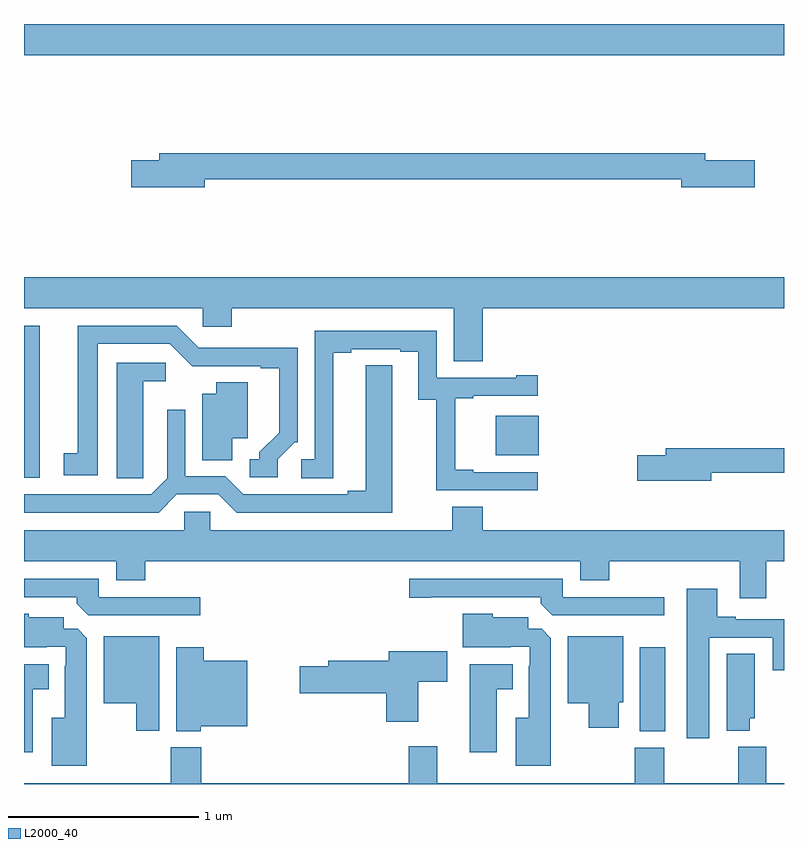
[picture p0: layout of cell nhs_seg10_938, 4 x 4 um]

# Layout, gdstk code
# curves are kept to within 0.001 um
import gdstk
lib = gdstk.Library(unit=1e-6, precision=1e-09)
def R(c, l, rs):  # rectangles x0, y0, x1, y1
    for r in rs: c.add(gdstk.rectangle(r[:2], r[2:], *l))
def P(c, l, *ps):  # polygons
    for p in ps: c.add(gdstk.Polygon(p, *l))
L2000_40 = (2000, 40)

nhs_seg10_938 = lib.new_cell('nhs_seg10_938')
R(nhs_seg10_938, L2000_40, [(162.242,1276.777,162.376,1277.221), (159,1278.111,159.082,1278.912), (161.483,1278.23,161.71,1278.439), (159,1280.336,163,1280.5)])
P(nhs_seg10_938, L2000_40, [(159.952,1279.684),(162.458,1279.684),(162.458,1279.642),(162.847,1279.642),(162.847,1279.784),(162.586,1279.784),(162.586,1279.82),(159.713,1279.82),(159.713,1279.784),(159.564,1279.784),(159.564,1279.642),(159.952,1279.642)],
  [(159,1279.004),(159.942,1279.004),(159.942,1278.906),(160.094,1278.906),(160.094,1279.004),(161.261,1279.004),(161.261,1278.724),(161.414,1278.724),(161.414,1279.004),(163,1279.004),(163,1279.168),(159,1279.168)],
  [(160.335,1278.21),(160.425,1278.3),(160.44,1278.3),(160.44,1278.797),(160.177,1278.797),(160.177,1278.795),(159.921,1278.795),(159.804,1278.912),(159.284,1278.912),(159.284,1278.242),(159.21,1278.242),(159.21,1278.126),(159.388,1278.126),(159.388,1278.816),(159.768,1278.816),(159.886,1278.698),(160.247,1278.699),(160.247,1278.687),(160.343,1278.687),(160.343,1278.35),(160.238,1278.245),(160.238,1278.21),(160.188,1278.21),(160.188,1278.114),(160.335,1278.114)],
  [(161.704,1278.141),(161.365,1278.141),(161.365,1278.154),(161.27,1278.154),(161.27,1278.531),(161.365,1278.531),(161.365,1278.543),(161.704,1278.543),(161.704,1278.652),(161.591,1278.652),(161.591,1278.639),(161.172,1278.639),(161.172,1278.885),(160.53,1278.885),(160.53,1278.21),(160.458,1278.21),(160.458,1278.109),(160.627,1278.109),(160.627,1278.769),(160.723,1278.769),(160.723,1278.789),(160.979,1278.789),(160.979,1278.774),(161.075,1278.774),(161.075,1278.523),(161.17,1278.523),(161.17,1278.045),(161.704,1278.045)],
  [(159.627,1278.217),(159.628,1278.217),(159.628,1278.62),(159.745,1278.62),(159.745,1278.717),(159.488,1278.717),(159.488,1278.109),(159.627,1278.109)],
  [(159.805,1278.024),(160.023,1278.024),(160.119,1277.928),(160.939,1277.928),(160.938,1278.704),(160.799,1278.704),(160.799,1278.044),(160.703,1278.044),(160.703,1278.024),(160.155,1278.024),(160.059,1278.12),(159.849,1278.12),(159.849,1278.469),(159.753,1278.469),(159.753,1278.108),(159.669,1278.024),(159,1278.024),(159,1277.928),(159.709,1277.928)],
  [(160.096,1278.32),(160.177,1278.32),(160.177,1278.614),(160.013,1278.614),(160.013,1278.553),(159.938,1278.553),(159.938,1278.205),(160.096,1278.205)],
  [(162.616,1278.138),(163,1278.138),(163,1278.266),(162.377,1278.266),(162.377,1278.23),(162.228,1278.23),(162.228,1278.095),(162.616,1278.095)],
  [(162.907,1277.672),(163,1277.672),(163,1277.836),(161.414,1277.836),(161.414,1277.96),(161.254,1277.96),(161.254,1277.836),(159.981,1277.836),(159.981,1277.934),(159.843,1277.934),(159.843,1277.836),(159,1277.836),(159,1277.672),(159.485,1277.672),(159.485,1277.573),(159.638,1277.573),(159.638,1277.672),(161.927,1277.672),(161.927,1277.573),(162.08,1277.573),(162.08,1277.672),(162.767,1277.672),(162.767,1277.478),(162.907,1277.478)],
  [(159.928,1277.484),(159.393,1277.484),(159.393,1277.58),(159,1277.58),(159,1277.484),(159.278,1277.484),(159.278,1277.45),(159.339,1277.388),(159.928,1277.388)],
  [(162.37,1277.484),(161.835,1277.484),(161.835,1277.58),(161.028,1277.58),(161.028,1277.479),(161.14,1277.479),(161.14,1277.484),(161.72,1277.484),(161.72,1277.45),(161.781,1277.388),(162.37,1277.388)],
  [(162.607,1277.271),(162.941,1277.271),(162.941,1277.1),(163,1277.1),(163,1277.367),(162.745,1277.367),(162.745,1277.38),(162.649,1277.38),(162.649,1277.527),(162.488,1277.527),(162.488,1276.74),(162.607,1276.74)],
  [(159.331,1277.267),(159.282,1277.316),(159.208,1277.316),(159.208,1277.377),(159.024,1277.377),(159.024,1277.395),(159,1277.395),(159,1277.219),(159.119,1277.219),(159.119,1277.223),(159.219,1277.223),(159.219,1277.123),(159.215,1277.123),(159.215,1276.849),(159.146,1276.849),(159.146,1276.595),(159.331,1276.595)],
  [(161.773,1277.267),(161.724,1277.316),(161.653,1277.316),(161.653,1277.377),(161.466,1277.377),(161.466,1277.395),(161.309,1277.395),(161.309,1277.219),(161.561,1277.219),(161.561,1277.223),(161.661,1277.223),(161.661,1277.123),(161.657,1277.123),(161.657,1276.849),(161.588,1276.849),(161.588,1276.595),(161.773,1276.595)],
  [(162.13,1276.929),(162.154,1276.929),(162.154,1277.278),(161.861,1277.278),(161.861,1276.925),(161.972,1276.925),(161.972,1276.797),(162.13,1276.797)],
  [(159.712,1277.278),(159.419,1277.278),(159.419,1276.925),(159.59,1276.925),(159.59,1276.779),(159.712,1276.779)],
  [(159.93,1276.805),(160.174,1276.805),(160.174,1277.149),(159.947,1277.149),(159.947,1277.221),(159.8,1277.221),(159.8,1276.778),(159.93,1276.778)],
  [(161.074,1277.038),(161.227,1277.038),(161.227,1277.2),(160.919,1277.2),(160.919,1277.15),(160.601,1277.15),(160.601,1277.12),(160.452,1277.12),(160.452,1276.978),(160.907,1276.978),(160.907,1276.827),(161.074,1276.827)],
  [(162.82,1276.845),(162.847,1276.845),(162.847,1277.186),(162.698,1277.186),(162.698,1276.781),(162.82,1276.781)],
  [(161.488,1277),(161.572,1277),(161.572,1277.131),(161.345,1277.131),(161.345,1276.668),(161.488,1276.668)],
  [(159.046,1277),(159.13,1277),(159.13,1277.131),(159,1277.131),(159,1276.668),(159.046,1276.668)],
  [(163,1276.504),(162.907,1276.504),(162.907,1276.696),(162.76,1276.696),(162.76,1276.504),(162.369,1276.504),(162.369,1276.692),(162.214,1276.692),(162.214,1276.504),(161.176,1276.504),(161.176,1276.699),(161.024,1276.699),(161.024,1276.504),(159.932,1276.504),(159.932,1276.693),(159.772,1276.693),(159.772,1276.504),(159,1276.504),(159,1276.5),(163,1276.5)])

lib.write_gds('nhs_seg10_938.gds')
